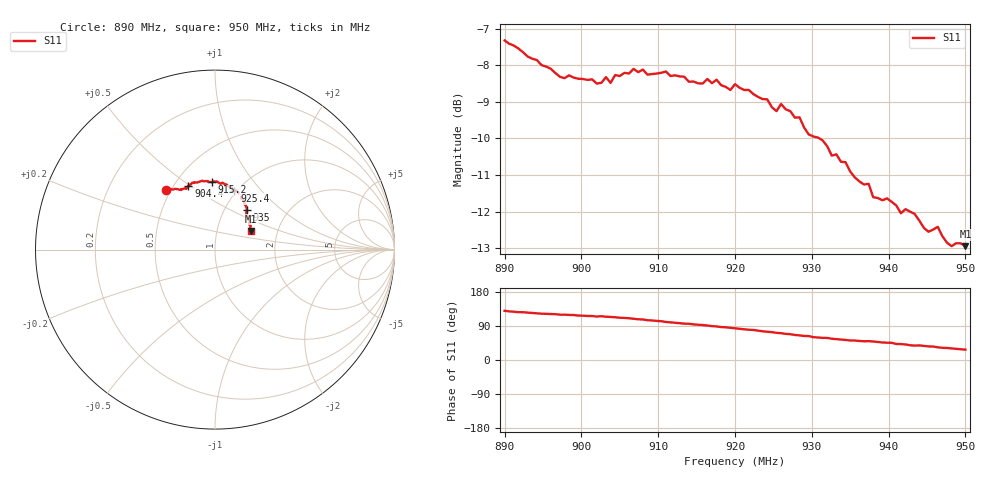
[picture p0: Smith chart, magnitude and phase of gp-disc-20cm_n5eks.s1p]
# HZ S RI R 50
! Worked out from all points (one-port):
!   101 points, 890 MHz to 950 MHz, reference 50 ohm
!   lowest |S11| = -12.9 dB at 950 MHz (marker M1), VSWR 1.58, Z = 73 + j15.9 ohm
!   |S11| at or under -10 dB: 931 MHz to end of sweep
!   S11 on the Smith chart (normalised r, x): 890 MHz: 0.47, +0.38; 904.4 MHz: 0.59, +0.49; 915.2 MHz: 0.73, +0.64; 925.4 MHz: 0.98, +0.73; 935 MHz: 1.27, +0.61; 950 MHz: 1.46, +0.32
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8.9e8  -0.2753 0.3307
8.948e8  -0.2128 0.3366
8.978e8  -0.1889 0.3322
9.032e8  -0.1571 0.3497
9.038e8  -0.1508 0.345
9.044e8  -0.1486 0.3562
9.05e8  -0.141 0.358
9.068e8  -0.1271 0.3724
9.128e8  -0.0478 0.3813
9.152e8  -0.0193 0.3756
9.176e8  0.00913 0.3802
9.194e8  0.0327 0.3668
9.2e8  0.0414 0.3728
9.242e8  0.0954 0.3446
9.254e8  0.1082 0.3272
9.26e8  0.1163 0.3326
9.278e8  0.1365 0.3088
9.284e8  0.1432 0.3061
9.296e8  0.1445 0.2858
9.308e8  0.162 0.2727
9.35e8  0.1775 0.223
9.374e8  0.1772 0.2093
9.38e8  0.173 0.1979
9.428e8  0.1954 0.1579
9.452e8  0.191 0.1384
9.464e8  0.1998 0.1321
9.482e8  0.1942 0.1145
9.5e8  0.2004 0.1033
